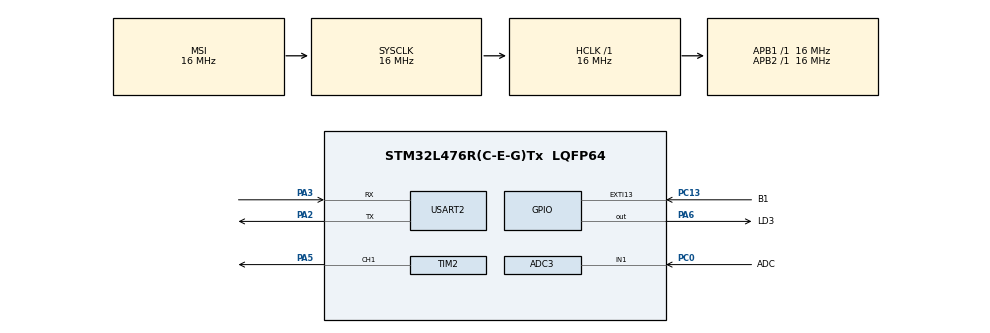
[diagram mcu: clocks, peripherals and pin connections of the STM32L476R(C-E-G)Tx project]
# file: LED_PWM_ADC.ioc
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ADC3.Channel-0\#ChannelRegularConversion=ADC_CHANNEL_1
ADC3.NbrOfConversionFlag=1
ADC3.OffsetNumber-0\#ChannelRegularConversion=ADC_OFFSET_NONE
ADC3.Rank-0\#ChannelRegularConversion=1
ADC3.SamplingTime-0\#ChannelRegularConversion=ADC_SAMPLETIME_2CYCLES_5
Mcu.Family=STM32L4
Mcu.Name=STM32L476R(C-E-G)Tx
Mcu.Package=LQFP64
NVIC.ADC3_IRQn=true\:0\:0\:false\:false\:true\:true\:true
NVIC.EXTI15_10_IRQn=true\:0\:0\:false\:false\:true\:true\:true
NVIC.PriorityGroup=NVIC_PRIORITYGROUP_4
NVIC.TIM2_IRQn=true\:0\:0\:false\:false\:true\:true\:true
NVIC.TIM4_IRQn=true\:0\:0\:false\:false\:true\:true\:true
NVIC.USART2_IRQn=true\:0\:0\:false\:false\:true\:true\:true
PA2.Mode=Asynchronous
PA2.Signal=USART2_TX
PA3.Mode=Asynchronous
PA3.Signal=USART2_RX
PA5.GPIO_Speed=GPIO_SPEED_FREQ_HIGH
PA5.Signal=S_TIM2_CH1
PA6.GPIO_Label=LD3
PA6.Signal=GPIO_Output
PC0.GPIO_Label=ADC
PC0.Signal=ADCx_IN1
PC13.GPIO_Label=B1
PC13.GPIO_ModeDefaultEXTI=GPIO_MODE_IT_FALLING
PC13.Signal=GPXTI13
ProjectManager.HeapSize=0x200
ProjectManager.StackSize=0x400
ProjectManager.TargetToolchain=STM32CubeIDE
RCC.ADCFreq_Value=64000000
RCC.AHBFreq_Value=16000000
RCC.APB1Freq_Value=16000000
RCC.APB1TimFreq_Value=16000000
RCC.APB2Freq_Value=16000000
RCC.APB2TimFreq_Value=16000000
RCC.CortexFreq_Value=16000000
RCC.HCLKFreq_Value=16000000
RCC.HSE_VALUE=8000000
RCC.HSI_VALUE=16000000
RCC.LSE_VALUE=32768
RCC.MSIClockRange=RCC_MSIRANGE_8
RCC.MSI_VALUE=16000000
RCC.SYSCLKFreq_VALUE=16000000
RCC.USBFreq_Value=64000000
RCC.VCOOutputFreq_Value=128000000
SH.ADCx_IN1.0=ADC3_IN1,IN1-Single-Ended
SH.S_TIM2_CH1.0=TIM2_CH1,PWM Generation1 CH1
TIM2.Channel-PWM\ Generation1\ CH1=TIM_CHANNEL_1
TIM2.Period=1999
TIM2.Prescaler=159
TIM2.Pulse-PWM\ Generation1\ CH1=99
TIM4.Period=16
TIM4.Prescaler=1000
USART2.VirtualMode-Asynchronous=VM_ASYNC
VP_TIM4_VS_ClockSourceINT.Mode=Internal
board=custom

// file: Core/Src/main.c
/* USER CODE BEGIN Header */
/**
 ******************************************************************************
 * @file           : main.c
 * @brief          : Main program body
 ******************************************************************************
 * @attention
 *
 * <h2><center>&copy; Copyright (c) 2020 STMicroelectronics.
 * All rights reserved.</center></h2>
 *
 * This software component is licensed by ST under BSD 3-Clause license,
 * the "License"; You may not use this file except in compliance with the
 * License. You may obtain a copy of the License at:
 *                        opensource.org/licenses/BSD-3-Clause
 *
 ******************************************************************************
 */
/* USER CODE END Header */

#include "main.h"

/* USER CODE BEGIN Includes */
#include <stdio.h>
#include <string.h>
/* USER CODE END Includes */

/* USER CODE BEGIN PTD */

#define BUFF_SIZE		(	    10		)
#define PWM_PERIOD		(     1999		)
#define TIME_FOR_ALARM	(	  5000		)
#define TIME_FOR_TOGGLE	(	   300		)

typedef enum _bool_ {
	OFF,
	ON,
}bool_t;

typedef enum _events_ {
	EVT_NO_EVT,
	EVT_0,
	EVT_30,
	EVT_70,
	EVT_100,
	EVT_ADC,
	EVT_ADC_RECEIVED,
	EVT_TIME_REACHED,
	EVT_TIME_TOGGLE,
	EVT_TIME_STOP_ALARM,
}events_t;

typedef enum _states_ {
	STATE_0,
	STATE_30,
	STATE_70,
	STATE_100,
	STATE_ADC,
}states_t;

typedef volatile struct _button_ {
	uint16_t debounc_count;
	bool_t flag_pressed:1;
	bool_t flag_maybe_pressed:1;
}button_t;

button_t user_button = {
		.debounc_count = 0,
		.flag_maybe_pressed = OFF,
		.flag_pressed = OFF,
};

typedef struct _uart_ {
	uint8_t rx_buff[BUFF_SIZE];
	uint8_t tx_buff[BUFF_SIZE];
}uart_t;

uart_t uart2 = {
		.rx_buff = {0},
		.tx_buff = {0},
};

typedef struct _adc_ {
	volatile uint32_t value;
}adc_t;

adc_t adc = {
		.value = 0,
};

typedef struct _led_ {

	volatile uint16_t counter;
	bool_t status:1;
	bool_t start:1;
	bool_t start_blink:1;

}led_t;

led_t user_led = {
		.start = OFF,
		.status = OFF,
		.counter = 0,
		.start_blink = OFF,
};

typedef struct _fsm_ {
	volatile events_t event;
	states_t state;
	volatile bool_t new_event:1;
	volatile bool_t start_alarm_counter:1;
	volatile bool_t start_toggle_counter:1;
	volatile bool_t start_stop_alarm_counter:1;
	volatile uint16_t alarm_counter;
	volatile uint16_t toggle_counter;
	volatile uint16_t stop_counter;
	uint32_t pwm_value;

}fsm_t;

fsm_t fsm;

/* USER CODE END PTD */

ADC_HandleTypeDef hadc3;

TIM_HandleTypeDef htim2;
TIM_HandleTypeDef htim4;

UART_HandleTypeDef huart2;

void SystemClock_Config(void);
static void MX_GPIO_Init(void);
static void MX_TIM2_Init(void);
static void MX_TIM4_Init(void);
static void MX_USART2_UART_Init(void);
static void MX_ADC3_Init(void);
/* USER CODE BEGIN PFP */
void fsm_init (fsm_t *fsm);
void fsm_run (fsm_t *fsm);
/* USER CODE END PFP */

/* USER CODE BEGIN 0 */

/**
 * @brief  EXTI line detection callback.
 * @param  GPIO_Pin Specifies the port pin connected to corresponding EXTI line.
 * @retval None
 */
void HAL_GPIO_EXTI_Callback(uint16_t GPIO_Pin)
{
	if (user_button.flag_maybe_pressed == OFF) {
		user_button.flag_maybe_pressed = ON;
	}
}

/**
 * @brief  Conversion complete callback in non-blocking mode.
 * @param hadc ADC handle
 * @retval None
 */
void HAL_ADC_ConvCpltCallback(ADC_HandleTypeDef *hadc)
{
	adc.value = HAL_ADC_GetValue(&hadc3);
	fsm.new_event = ON;
	fsm.event = EVT_ADC_RECEIVED;
}

/**
 * @brief  Period elapsed callback in non-blocking mode
 * @param  htim TIM handle
 * @retval None
 */
void HAL_TIM_PeriodElapsedCallback(TIM_HandleTypeDef *htim)
{
	if (htim->Instance == TIM4) {

		/* after EXTI interrupt is triggered */
		if ( user_button.flag_maybe_pressed == ON ) {
			user_button.debounc_count++;
		}
		/* 10mSec elapsed */
		if ( user_button.debounc_count >= 10 ) {

			/* button still pressed */
			if ( !HAL_GPIO_ReadPin(B1_GPIO_Port, B1_Pin) ) {
				user_button.flag_maybe_pressed = OFF;
				user_button.flag_pressed = ON;
				user_button.debounc_count = 0;
			}

		}
		/* Debouncing ignored */
		if ( user_button.flag_pressed == ON ) {
			user_button.flag_pressed =  OFF;
			//user_led.status ^= ON; /* Start heartbeat */
			fsm.new_event = ON;
			if ( fsm.state == STATE_0 ) {
				fsm.event = EVT_30;
			}
			else if ( fsm.state == STATE_30 ) {
				fsm.event = EVT_70;
			}
			else if ( fsm.state == STATE_70 ) {
				fsm.event = EVT_100;
			}
			else if ( fsm.state == STATE_100 ) {
				fsm.event = EVT_ADC;
			}
			else if ( fsm.state == STATE_ADC ) {
				fsm.event = EVT_0;
			}
		}

		/* When brightness is over 80% */
		if ( fsm.start_alarm_counter == ON ) {
			fsm.alarm_counter++;
		} else {
			fsm.alarm_counter = 0;
		}

		/* 5 secs elapsed */
		if ( fsm.alarm_counter >= TIME_FOR_ALARM ) {
			fsm.start_alarm_counter = OFF;
			fsm.alarm_counter = 0;
			fsm.event = EVT_TIME_REACHED;
			fsm.new_event = ON;
		}

		if ( fsm.start_toggle_counter == ON ) {
			fsm.toggle_counter++;
		} else {
			fsm.toggle_counter = 0;
		}

		if ( fsm.toggle_counter >= TIME_FOR_TOGGLE ) {
			fsm.start_toggle_counter = OFF;
			fsm.toggle_counter = 0;
			fsm.event = EVT_TIME_TOGGLE;
			fsm.new_event = ON;
		}

		if ( fsm.start_stop_alarm_counter == ON ) {
			fsm.stop_counter++;
		} else {
			fsm.stop_counter = 0;
		}

		if ( fsm.stop_counter >= TIME_FOR_ALARM ) {
			fsm.start_stop_alarm_counter = OFF;
			fsm.stop_counter = 0;
			fsm.event = EVT_TIME_STOP_ALARM;
			fsm.new_event = ON;
		}
	}
}
/* USER CODE END 0 */

int main(void)
{

	/* MCU Configuration--------------------------------------------------------*/

	/* Reset of all peripherals, Initializes the Flash interface and the Systick. */
	HAL_Init();

	/* Configure the system clock */
	SystemClock_Config();

	/* Initialize all configured peripherals */
	MX_GPIO_Init();
	MX_TIM2_Init();
	MX_TIM4_Init();
	MX_USART2_UART_Init();
	MX_ADC3_Init();
	/* USER CODE BEGIN 2 */
	uart2.tx_buff[BUFF_SIZE - 1] = '\0';

	HAL_TIM_Base_Start_IT(&htim4);

	HAL_TIM_PWM_Start_IT(&htim2, TIM_CHANNEL_1);

	fsm_init(&fsm);

	/* USER CODE END 2 */

	/* Infinite loop */
	/* USER CODE BEGIN WHILE */
	while (1)
	{
		fsm_run(&fsm);
		/* USER CODE END WHILE */

	}
}

void SystemClock_Config(void)
{
	RCC_OscInitTypeDef RCC_OscInitStruct = {0};
	RCC_ClkInitTypeDef RCC_ClkInitStruct = {0};
	RCC_PeriphCLKInitTypeDef PeriphClkInit = {0};

	/** Initializes the CPU, AHB and APB busses clocks
	 */
	RCC_OscInitStruct.OscillatorType = RCC_OSCILLATORTYPE_MSI;
	RCC_OscInitStruct.MSIState = RCC_MSI_ON;
	RCC_OscInitStruct.MSICalibrationValue = 0;
	RCC_OscInitStruct.MSIClockRange = RCC_MSIRANGE_8;
	RCC_OscInitStruct.PLL.PLLState = RCC_PLL_NONE;
	if (HAL_RCC_OscConfig(&RCC_OscInitStruct) != HAL_OK)
	{
		Error_Handler();
	}
	/** Initializes the CPU, AHB and APB busses clocks
	 */
	RCC_ClkInitStruct.ClockType = RCC_CLOCKTYPE_HCLK|RCC_CLOCKTYPE_SYSCLK
			|RCC_CLOCKTYPE_PCLK1|RCC_CLOCKTYPE_PCLK2;
	RCC_ClkInitStruct.SYSCLKSource = RCC_SYSCLKSOURCE_MSI;
	RCC_ClkInitStruct.AHBCLKDivider = RCC_SYSCLK_DIV1;
	RCC_ClkInitStruct.APB1CLKDivider = RCC_HCLK_DIV1;
	RCC_ClkInitStruct.APB2CLKDivider = RCC_HCLK_DIV1;

	if (HAL_RCC_ClockConfig(&RCC_ClkInitStruct, FLASH_LATENCY_0) != HAL_OK)
	{
		Error_Handler();
	}
	PeriphClkInit.PeriphClockSelection = RCC_PERIPHCLK_USART2|RCC_PERIPHCLK_ADC;
	PeriphClkInit.Usart2ClockSelection = RCC_USART2CLKSOURCE_PCLK1;
	PeriphClkInit.AdcClockSelection = RCC_ADCCLKSOURCE_PLLSAI1;
	PeriphClkInit.PLLSAI1.PLLSAI1Source = RCC_PLLSOURCE_MSI;
	PeriphClkInit.PLLSAI1.PLLSAI1M = 1;
	PeriphClkInit.PLLSAI1.PLLSAI1N = 8;
	PeriphClkInit.PLLSAI1.PLLSAI1P = RCC_PLLP_DIV7;
	PeriphClkInit.PLLSAI1.PLLSAI1Q = RCC_PLLQ_DIV2;
	PeriphClkInit.PLLSAI1.PLLSAI1R = RCC_PLLR_DIV2;
	PeriphClkInit.PLLSAI1.PLLSAI1ClockOut = RCC_PLLSAI1_ADC1CLK;
	if (HAL_RCCEx_PeriphCLKConfig(&PeriphClkInit) != HAL_OK)
	{
		Error_Handler();
	}
	/** Configure the main internal regulator output voltage
	 */
	if (HAL_PWREx_ControlVoltageScaling(PWR_REGULATOR_VOLTAGE_SCALE1) != HAL_OK)
	{
		Error_Handler();
	}
}

static void MX_ADC3_Init(void)
{

	ADC_ChannelConfTypeDef sConfig = {0};

	/** Common config
	 */
	hadc3.Instance = ADC3;
	hadc3.Init.ClockPrescaler = ADC_CLOCK_ASYNC_DIV1;
	hadc3.Init.Resolution = ADC_RESOLUTION_12B;
	hadc3.Init.DataAlign = ADC_DATAALIGN_RIGHT;
	hadc3.Init.ScanConvMode = ADC_SCAN_DISABLE;
	hadc3.Init.EOCSelection = ADC_EOC_SINGLE_CONV;
	hadc3.Init.LowPowerAutoWait = DISABLE;
	hadc3.Init.ContinuousConvMode = DISABLE;
	hadc3.Init.NbrOfConversion = 1;
	hadc3.Init.DiscontinuousConvMode = DISABLE;
	hadc3.Init.NbrOfDiscConversion = 1;
	hadc3.Init.ExternalTrigConv = ADC_SOFTWARE_START;
	hadc3.Init.ExternalTrigConvEdge = ADC_EXTERNALTRIGCONVEDGE_NONE;
	hadc3.Init.DMAContinuousRequests = DISABLE;
	hadc3.Init.Overrun = ADC_OVR_DATA_PRESERVED;
	hadc3.Init.OversamplingMode = DISABLE;
	if (HAL_ADC_Init(&hadc3) != HAL_OK)
	{
		Error_Handler();
	}
	/** Configure Regular Channel
	 */
	sConfig.Channel = ADC_CHANNEL_1;
	sConfig.Rank = ADC_REGULAR_RANK_1;
	sConfig.SamplingTime = ADC_SAMPLETIME_2CYCLES_5;
	sConfig.SingleDiff = ADC_SINGLE_ENDED;
	sConfig.OffsetNumber = ADC_OFFSET_NONE;
	sConfig.Offset = 0;
	if (HAL_ADC_ConfigChannel(&hadc3, &sConfig) != HAL_OK)
	{
		Error_Handler();
	}

}

static void MX_TIM2_Init(void)
{

	TIM_MasterConfigTypeDef sMasterConfig = {0};
	TIM_OC_InitTypeDef sConfigOC = {0};

	htim2.Instance = TIM2;
	htim2.Init.Prescaler = 159;
	htim2.Init.CounterMode = TIM_COUNTERMODE_UP;
	htim2.Init.Period = 1999;
	htim2.Init.ClockDivision = TIM_CLOCKDIVISION_DIV1;
	htim2.Init.AutoReloadPreload = TIM_AUTORELOAD_PRELOAD_DISABLE;
	if (HAL_TIM_PWM_Init(&htim2) != HAL_OK)
	{
		Error_Handler();
	}
	sMasterConfig.MasterOutputTrigger = TIM_TRGO_RESET;
	sMasterConfig.MasterSlaveMode = TIM_MASTERSLAVEMODE_DISABLE;
	if (HAL_TIMEx_MasterConfigSynchronization(&htim2, &sMasterConfig) != HAL_OK)
	{
		Error_Handler();
	}
	sConfigOC.OCMode = TIM_OCMODE_PWM1;
	sConfigOC.Pulse = 99;
	sConfigOC.OCPolarity = TIM_OCPOLARITY_HIGH;
	sConfigOC.OCFastMode = TIM_OCFAST_DISABLE;
	if (HAL_TIM_PWM_ConfigChannel(&htim2, &sConfigOC, TIM_CHANNEL_1) != HAL_OK)
	{
		Error_Handler();
	}
	HAL_TIM_MspPostInit(&htim2);

}

static void MX_TIM4_Init(void)
{

	TIM_ClockConfigTypeDef sClockSourceConfig = {0};
	TIM_MasterConfigTypeDef sMasterConfig = {0};

	htim4.Instance = TIM4;
	htim4.Init.Prescaler = 1000;
	htim4.Init.CounterMode = TIM_COUNTERMODE_UP;
	htim4.Init.Period = 16;
	htim4.Init.ClockDivision = TIM_CLOCKDIVISION_DIV1;
	htim4.Init.AutoReloadPreload = TIM_AUTORELOAD_PRELOAD_DISABLE;
	if (HAL_TIM_Base_Init(&htim4) != HAL_OK)
	{
		Error_Handler();
	}
	sClockSourceConfig.ClockSource = TIM_CLOCKSOURCE_INTERNAL;
	if (HAL_TIM_ConfigClockSource(&htim4, &sClockSourceConfig) != HAL_OK)
	{
		Error_Handler();
	}
	sMasterConfig.MasterOutputTrigger = TIM_TRGO_RESET;
	sMasterConfig.MasterSlaveMode = TIM_MASTERSLAVEMODE_DISABLE;
	if (HAL_TIMEx_MasterConfigSynchronization(&htim4, &sMasterConfig) != HAL_OK)
	{
		Error_Handler();
	}

}

static void MX_USART2_UART_Init(void)
{

	huart2.Instance = USART2;
	huart2.Init.BaudRate = 115200;
	huart2.Init.WordLength = UART_WORDLENGTH_8B;
	huart2.Init.StopBits = UART_STOPBITS_1;
	huart2.Init.Parity = UART_PARITY_NONE;
	huart2.Init.Mode = UART_MODE_TX_RX;
	huart2.Init.HwFlowCtl = UART_HWCONTROL_NONE;
	huart2.Init.OverSampling = UART_OVERSAMPLING_16;
	huart2.Init.OneBitSampling = UART_ONE_BIT_SAMPLE_DISABLE;
	huart2.AdvancedInit.AdvFeatureInit = UART_ADVFEATURE_NO_INIT;
	if (HAL_UART_Init(&huart2) != HAL_OK)
	{
		Error_Handler();
	}

}

static void MX_GPIO_Init(void)
{
	GPIO_InitTypeDef GPIO_InitStruct = {0};

	/* GPIO Ports Clock Enable */
	__HAL_RCC_GPIOC_CLK_ENABLE();
	__HAL_RCC_GPIOA_CLK_ENABLE();

	/*Configure GPIO pin Output Level */
	HAL_GPIO_WritePin(LD3_GPIO_Port, LD3_Pin, GPIO_PIN_RESET);

	/*Configure GPIO pin : B1_Pin */
	GPIO_InitStruct.Pin = B1_Pin;
	GPIO_InitStruct.Mode = GPIO_MODE_IT_FALLING;
	GPIO_InitStruct.Pull = GPIO_NOPULL;
	HAL_GPIO_Init(B1_GPIO_Port, &GPIO_InitStruct);

	/*Configure GPIO pin : LD3_Pin */
	GPIO_InitStruct.Pin = LD3_Pin;
	GPIO_InitStruct.Mode = GPIO_MODE_OUTPUT_PP;
	GPIO_InitStruct.Pull = GPIO_NOPULL;
	GPIO_InitStruct.Speed = GPIO_SPEED_FREQ_LOW;
	HAL_GPIO_Init(LD3_GPIO_Port, &GPIO_InitStruct);

	/* EXTI interrupt init*/
	HAL_NVIC_SetPriority(EXTI15_10_IRQn, 0, 0);
	HAL_NVIC_EnableIRQ(EXTI15_10_IRQn);

}

/* USER CODE BEGIN 4 */
void fsm_init (fsm_t *fsm) {

	fsm->state = STATE_0;
	fsm->event = EVT_NO_EVT;
	fsm->new_event = OFF;
	fsm->start_alarm_counter = OFF;
	fsm->alarm_counter = 0;
	fsm->start_toggle_counter = OFF;
	fsm->toggle_counter = 0;
	fsm->start_stop_alarm_counter = OFF;
	fsm->stop_counter = 0;
	fsm->pwm_value = 0;

	__HAL_TIM_SET_COMPARE(&htim2, TIM_CHANNEL_1, 0);
}

void fsm_run (fsm_t *fsm) {
	if ( fsm->new_event == ON ) {
		fsm->new_event = OFF;

		switch (fsm->state) {

		case STATE_0:

			if ( fsm->event == EVT_30 ) {
				__HAL_TIM_SET_COMPARE(&htim2, TIM_CHANNEL_1, 600);
				fsm->state = STATE_30;
			}

			break;

		case STATE_30:

			if ( fsm->event == EVT_70 ) {
				__HAL_TIM_SET_COMPARE(&htim2, TIM_CHANNEL_1, 1399);
				fsm->state = STATE_70;
			}

			break;

		case STATE_70:

			if ( fsm->event == EVT_100 ) {
				__HAL_TIM_SET_COMPARE(&htim2, TIM_CHANNEL_1, 1999);
				fsm->start_alarm_counter = ON;
				fsm->state = STATE_100;
			}

			break;

		case STATE_100:

			if ( fsm->event == EVT_ADC ) {

				HAL_GPIO_WritePin(LD3_GPIO_Port, LD3_Pin, OFF);
				fsm->start_alarm_counter = OFF;
				fsm->start_toggle_counter = OFF;
				fsm->start_stop_alarm_counter = OFF;
				fsm->state = STATE_ADC;
				HAL_ADC_Start_IT(&hadc3);

			} else if ( fsm->event == EVT_TIME_REACHED ) {

				__HAL_TIM_SET_COMPARE(&htim2, TIM_CHANNEL_1, 0);
				HAL_GPIO_TogglePin(LD3_GPIO_Port, LD3_Pin);
				fsm->start_toggle_counter = ON;
				fsm->start_stop_alarm_counter = ON;

			} else if ( fsm->event == EVT_TIME_TOGGLE ) {

				HAL_GPIO_TogglePin(LD3_GPIO_Port, LD3_Pin);
				fsm->start_toggle_counter = ON;

			} else if ( fsm->event == EVT_TIME_STOP_ALARM ) {

				__HAL_TIM_SET_COMPARE(&htim2, TIM_CHANNEL_1, 1999);
				HAL_GPIO_WritePin(LD3_GPIO_Port, LD3_Pin, OFF);
				fsm->start_toggle_counter = OFF;
				fsm->start_alarm_counter = ON;

			}
			break;

		case STATE_ADC:

			if ( fsm->event == EVT_0 ) {

				HAL_GPIO_WritePin(LD3_GPIO_Port, LD3_Pin, OFF);
				__HAL_TIM_SET_COMPARE(&htim2, TIM_CHANNEL_1, 0);
				fsm->state = STATE_0;

			}
			else if ( fsm->event == EVT_ADC_RECEIVED ) {

				fsm->pwm_value = (adc.value*1999)/(4050);
				__HAL_TIM_SET_COMPARE(&htim2, TIM_CHANNEL_1, fsm->pwm_value);

				if ( fsm->pwm_value >= 1580 ) { /* over 80% */
					fsm->start_alarm_counter = ON;
				} else {
					fsm->start_alarm_counter = OFF;
					fsm->start_toggle_counter = OFF;
					fsm->start_stop_alarm_counter = OFF;
				}
				HAL_ADC_Start_IT(&hadc3);
				fsm->state = STATE_ADC;

			} else if ( fsm->event == EVT_TIME_REACHED ) {

				__HAL_TIM_SET_COMPARE(&htim2, TIM_CHANNEL_1, 0);
				HAL_GPIO_TogglePin(LD3_GPIO_Port, LD3_Pin);
				fsm->start_toggle_counter = ON;
				fsm->start_stop_alarm_counter = ON;
				fsm->state = STATE_ADC;

			} else if ( fsm->event == EVT_TIME_TOGGLE ) {

				HAL_GPIO_TogglePin(LD3_GPIO_Port, LD3_Pin);
				fsm->start_toggle_counter = ON;
				fsm->state = STATE_ADC;

			} else if ( fsm->event == EVT_TIME_STOP_ALARM ) {

				HAL_GPIO_WritePin(LD3_GPIO_Port, LD3_Pin, OFF);
				fsm->start_toggle_counter = OFF;
				HAL_ADC_Start_IT(&hadc3);
				fsm->state = STATE_ADC;

			}

			break;

		default: /*ERROR */
			HAL_GPIO_WritePin(LD3_GPIO_Port, LD3_Pin, ON);
			while(1){}
			break;
		}

	}
}
/* USER CODE END 4 */

void Error_Handler(void)
{
}

/************************ (C) COPYRIGHT STMicroelectronics *****END OF FILE****/
